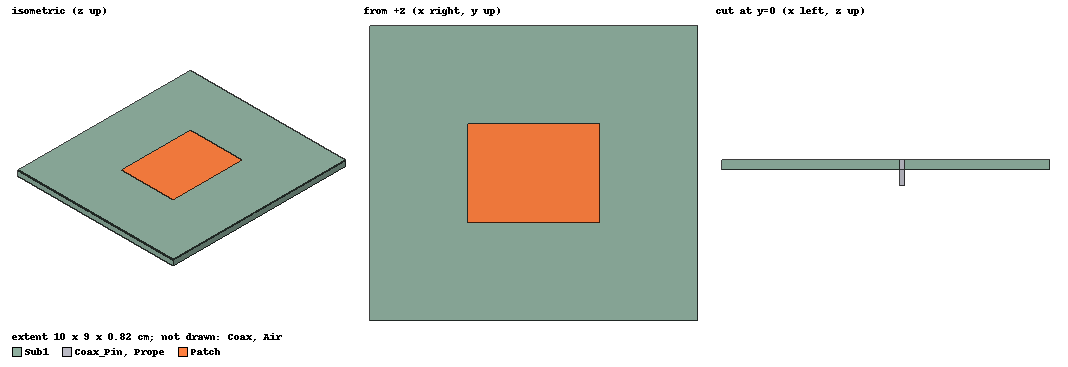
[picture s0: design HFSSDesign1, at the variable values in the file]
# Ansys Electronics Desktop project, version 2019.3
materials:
  vacuum: permittivity=1
  Rogers RT/duroid 5880 (tm): permittivity=2.2 dielectric_loss_tangent=0.0009
  pec: conductivity=1e+30

design HFSSDesign1 (HFSS, DrivenTerminal, model units cm)
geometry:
  Sub1 [Rogers RT/duroid 5880 (tm)] = box(corner=(-5cm, -4.5cm, 0cm), size=(10cm, 9cm, 0.32cm))
  inf_GND [Rogers RT/duroid 5880 (tm)] = rectangle(corner=(-5cm, -4.5cm, 0cm), x_size=10cm, y_size=9cm)
  Cut_Out = circle(normal=Z, centre=(-0.5cm, 0cm, 0cm), radius=0.16cm)
  inf_GND.subtract(Cut_Out)
  Patch [Rogers RT/duroid 5880 (tm)] = rectangle(corner=(-2cm, -1.5cm, 0.32cm), x_size=4cm, y_size=3cm)
  Coax [vacuum] = cylinder(axis=Z, base_centre=(-0.5cm, 0cm, 0cm), radius=0.16cm, height=-0.5cm)
  Coax_Pin [pec] = cylinder(axis=Z, base_centre=(-0.5cm, 0cm, 0cm), radius=0.07cm, height=-0.5cm)
  Port1 [pec] = circle(normal=Z, centre=(-0.5cm, 0cm, -0.5cm), radius=0.16cm)
  Prope [pec] = cylinder(axis=Z, base_centre=(-0.5cm, 0cm, 0cm), radius=0.07cm, height=0.32cm)
  Air [vacuum] = box(corner=(-5cm, -4.5cm, 0cm), size=(10cm, 9cm, 3.32cm))
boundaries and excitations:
  PerfE_inf_GND: Perfect E Objects=inf_GND
  PerfE_Patch: Perfect E Objects=Patch
  Rad1: Radiation Faces=Air.face(+x, +y, -y, -x, +z)
  Coax_Pin_T1: Terminal port=1 Faces=Coax_Pin.face(2 of 3) TerminalResistance=50ohm
  1: Wave Port Faces=Port1.face NumModes=1
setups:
  Setup1: HfssDriven Frequency=2.25GHz MaxDeltaS=0.02 MaximumPasses=20 MinimumPasses=1 MinimumConvergedPasses=1 PercentRefinement=30 BasisOrder=1 PortAccuracy=2
    sweep Sweep: 1GHz to 3.5GHz, 201 points; Type=Fast SaveFields
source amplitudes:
  1:1: 1V 0deg
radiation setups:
  Infinite Sphere1: Infinite Sphere Theta=-180deg..180deg step 2deg Phi=0deg..90deg step 90deg
